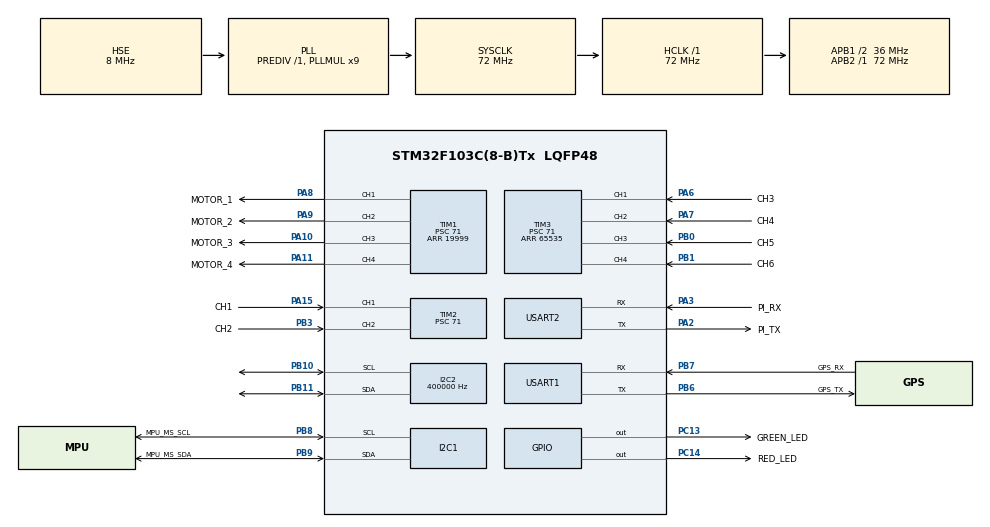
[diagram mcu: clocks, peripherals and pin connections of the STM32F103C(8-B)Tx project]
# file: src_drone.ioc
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I2C1.I2C_Mode=I2C_Fast
I2C2.ClockSpeed=400000
I2C2.DutyCycle=I2C_DUTYCYCLE_2
I2C2.I2C_Mode=I2C_Fast
Mcu.Family=STM32F1
Mcu.Name=STM32F103C(8-B)Tx
Mcu.Package=LQFP48
NVIC.PriorityGroup=NVIC_PRIORITYGROUP_4
NVIC.TIM1_BRK_IRQn=true\:0\:0\:false\:false\:true\:true\:true\:true
NVIC.TIM1_CC_IRQn=true\:0\:0\:false\:false\:true\:true\:true\:true
NVIC.TIM1_TRG_COM_IRQn=true\:0\:0\:false\:false\:true\:true\:true\:true
NVIC.TIM1_UP_IRQn=true\:0\:0\:false\:false\:true\:true\:true\:true
NVIC.TIM2_IRQn=true\:0\:0\:false\:false\:true\:true\:true\:true
NVIC.TIM3_IRQn=true\:0\:0\:false\:false\:true\:true\:true\:true
NVIC.USART1_IRQn=true\:0\:0\:false\:false\:true\:true\:true\:true
PA10.GPIO_Label=MOTOR_3
PA10.Signal=S_TIM1_CH3
PA11.GPIO_Label=MOTOR_4
PA11.Signal=S_TIM1_CH4
PA13.Mode=Serial_Wire
PA13.Signal=SYS_JTMS-SWDIO
PA14.Mode=Serial_Wire
PA14.Signal=SYS_JTCK-SWCLK
PA15.GPIO_Label=CH1
PA15.Signal=S_TIM2_CH1_ETR
PA2.GPIO_Label=PI_TX
PA2.Mode=Asynchronous
PA2.Signal=USART2_TX
PA3.GPIO_Label=PI_RX
PA3.Mode=Asynchronous
PA3.Signal=USART2_RX
PA6.GPIO_Label=CH3
PA6.Signal=S_TIM3_CH1
PA7.GPIO_Label=CH4
PA7.Signal=S_TIM3_CH2
PA8.GPIO_Label=MOTOR_1
PA8.Signal=S_TIM1_CH1
PA9.GPIO_Label=MOTOR_2
PA9.Signal=S_TIM1_CH2
PB0.GPIO_Label=CH5
PB0.Signal=S_TIM3_CH3
PB1.GPIO_Label=CH6
PB1.Signal=S_TIM3_CH4
PB10.Mode=I2C
PB10.Signal=I2C2_SCL
PB11.Mode=I2C
PB11.Signal=I2C2_SDA
PB3.GPIO_Label=CH2
PB3.Signal=S_TIM2_CH2
PB6.GPIO_Label=GPS_TX
PB6.Mode=Asynchronous
PB6.Signal=USART1_TX
PB7.GPIO_Label=GPS_RX
PB7.Mode=Asynchronous
PB7.Signal=USART1_RX
PB8.GPIO_Label=MPU_MS_SCL
PB8.Mode=I2C
PB8.Signal=I2C1_SCL
PB9.GPIO_Label=MPU_MS_SDA
PB9.Mode=I2C
PB9.Signal=I2C1_SDA
PC13-TAMPER-RTC.GPIO_Label=GREEN_LED
PC13-TAMPER-RTC.Signal=GPIO_Output
PC14-OSC32_IN.GPIO_Label=RED_LED
PC14-OSC32_IN.Signal=GPIO_Output
PD0-OSC_IN.Mode=HSE-External-Oscillator
PD0-OSC_IN.Signal=RCC_OSC_IN
PD1-OSC_OUT.Mode=HSE-External-Oscillator
PD1-OSC_OUT.Signal=RCC_OSC_OUT
ProjectManager.HeapSize=0x200
ProjectManager.StackSize=0x400
ProjectManager.TargetToolchain=MDK-ARM V5.32
RCC.AHBFreq_Value=72000000
RCC.APB1CLKDivider=RCC_HCLK_DIV2
RCC.APB1Freq_Value=36000000
RCC.APB1TimFreq_Value=72000000
RCC.APB2Freq_Value=72000000
RCC.APB2TimFreq_Value=72000000
RCC.HCLKFreq_Value=72000000
RCC.PLLMUL=RCC_PLL_MUL9
RCC.PLLSourceVirtual=RCC_PLLSOURCE_HSE
RCC.SYSCLKFreq_VALUE=72000000
RCC.SYSCLKSource=RCC_SYSCLKSOURCE_PLLCLK
RCC.USBFreq_Value=72000000
SH.S_TIM1_CH1.0=TIM1_CH1,PWM Generation1 CH1
SH.S_TIM1_CH2.0=TIM1_CH2,PWM Generation2 CH2
SH.S_TIM1_CH3.0=TIM1_CH3,PWM Generation3 CH3
SH.S_TIM1_CH4.0=TIM1_CH4,PWM Generation4 CH4
SH.S_TIM2_CH1_ETR.0=TIM2_CH1,Input_Capture1_from_TI1
SH.S_TIM2_CH2.0=TIM2_CH2,Input_Capture2_from_TI2
SH.S_TIM3_CH1.0=TIM3_CH1,Input_Capture1_from_TI1
SH.S_TIM3_CH2.0=TIM3_CH2,Input_Capture2_from_TI2
SH.S_TIM3_CH3.0=TIM3_CH3,Input_Capture3_from_TI3
SH.S_TIM3_CH4.0=TIM3_CH4,Input_Capture4_from_TI4
TIM1.Channel-PWM\ Generation1\ CH1=TIM_CHANNEL_1
TIM1.Channel-PWM\ Generation2\ CH2=TIM_CHANNEL_2
TIM1.Channel-PWM\ Generation3\ CH3=TIM_CHANNEL_3
TIM1.Channel-PWM\ Generation4\ CH4=TIM_CHANNEL_4
TIM1.Period=19999
TIM1.Prescaler=71
TIM1.Pulse-PWM\ Generation1\ CH1=1000
TIM1.Pulse-PWM\ Generation2\ CH2=1000
TIM1.Pulse-PWM\ Generation3\ CH3=1000
TIM1.Pulse-PWM\ Generation4\ CH4=1000
TIM2.Channel-Input_Capture1_from_TI1=TIM_CHANNEL_1
TIM2.Channel-Input_Capture2_from_TI2=TIM_CHANNEL_2
TIM2.ICPolarity_CH1=TIM_INPUTCHANNELPOLARITY_RISING
TIM2.Prescaler=71
TIM3.Channel-Input_Capture1_from_TI1=TIM_CHANNEL_1
TIM3.Channel-Input_Capture2_from_TI2=TIM_CHANNEL_2
TIM3.Channel-Input_Capture3_from_TI3=TIM_CHANNEL_3
TIM3.Channel-Input_Capture4_from_TI4=TIM_CHANNEL_4
TIM3.Period=65535
TIM3.Prescaler=71
USART1.VirtualMode=VM_ASYNC
USART2.VirtualMode=VM_ASYNC
VP_TIM1_VS_ClockSourceINT.Mode=Internal
VP_TIM2_VS_ClockSourceINT.Mode=Internal
VP_TIM3_VS_ClockSourceINT.Mode=Internal
board=custom

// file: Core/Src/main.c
#include "main.h"
#include "math.h"
#include "stdlib.h"
#define RAD_TO_DEG 57.295779513082320876798154814105
I2C_HandleTypeDef hi2c1;
I2C_HandleTypeDef hi2c2;

TIM_HandleTypeDef htim1;
TIM_HandleTypeDef htim2;
TIM_HandleTypeDef htim3;

UART_HandleTypeDef huart1;
UART_HandleTypeDef huart2;

/* USER CODE BEGIN PV */
#define MPU6050_ADDRESS  0x68
/* USER CODE END PV */

void SystemClock_Config(void);
static void MX_GPIO_Init(void);
static void MX_I2C1_Init(void);
static void MX_TIM1_Init(void);
static void MX_TIM2_Init(void);
static void MX_TIM3_Init(void);
static void MX_USART2_UART_Init(void);
static void MX_I2C2_Init(void);
static void MX_USART1_UART_Init(void);

/* USER CODE BEGIN 0 */

float Accel_Offset[3];
float Gyro_Offset[3];
///////////////////////////////////////////////////////////////////////////////////////////////////////////////////////////////////////
// Cài d?t m?c tang và gi?i h?n PID
///////////////////////////////////////////////////////////////////////////////////////////////////////////////////////////////////////
float pid_p_gain_roll = 1.45;
float pid_i_gain_roll = 0.0003;
float pid_d_gain_roll = 0.08;
int pid_max_roll = 400;

float pid_p_gain_pitch = 1.45;
float pid_i_gain_pitch = 0.0003;
float pid_d_gain_pitch = 0.08;
int pid_max_pitch = 400;

float pid_p_gain_yaw = 1.2;
float pid_i_gain_yaw = 0.0003;
float pid_d_gain_yaw = 0.002;
int pid_max_yaw = 400;

int16_t manual_takeoff_throttle = 1500;    // Nh?p di?m c?t cánh th? công khi không phát hi?n c?t cánh t? d?ng (gi?a 1400 và 1600).
int16_t motor_idle_speed = 1100;           // Nh?p xung ga t?i thi?u c?a d?ng co khi chúng không t?i (gi?a 1000 và 1200).

///////////////////////////////////////////////////////////////////////////////////////////////////////////////////////////////////////
// Khai báo các bi?n toàn c?c
///////////////////////////////////////////////////////////////////////////////////////////////////////////////////////////////////////
volatile int CH1, CH2, CH3, CH4, CH5, CH6;
volatile int pid_roll_setpoint_base, pid_pitch_setpoint_base;
int esc_1, esc_2, esc_3, esc_4;
int throttle, battery_voltage;
int  start, cal_int;
int temperature, count_var;
int acc_axis[4], gyro_axis[4];
int32_t gyro_roll_cal, gyro_pitch_cal, gyro_yaw_cal;
float roll_level_adjust, pitch_level_adjust;

float acc_x, acc_y, acc_z;
int32_t acc_total_vector, acc_total_vector_at_start;
int32_t acc_x_cal, acc_y_cal;
uint32_t current_time;
uint32_t timer;

int roll_neutral = 1512;
int pitch_neutral = 1512;
int yaw_neutral = 1492;
uint8_t setpoint_locked = 0;

double gyro_pitch, gyro_roll, gyro_yaw;
double gyro_axis_cal[4];
float pid_error_temp_roll;
float pid_error_temp_pitch;
float pid_error_temp_yaw;
float pid_i_mem_roll, pid_roll_setpoint, gyro_roll_input, pid_output_roll, pid_last_roll_d_error;
float pid_i_mem_pitch, pid_pitch_setpoint, gyro_pitch_input, pid_output_pitch, pid_last_pitch_d_error;
float pid_i_mem_yaw, pid_yaw_setpoint, gyro_yaw_input, pid_output_yaw, pid_last_yaw_d_error;
float angle_roll_acc, angle_pitch_acc, angle_pitch, angle_roll, angle_yaw;
float angle_roll_error, angle_pitch_error;
char gyro_angles_set;

uint32_t loop_timer, error_timer, flight_mode_timer;
uint8_t level_calibration_on;
uint8_t check_byte, flip32;
uint8_t error, error_counter, error_led;
uint8_t flight_mode, flight_mode_counter, flight_mode_led;
uint8_t takeoff_detected, manual_altitude_change;
int16_t manual_throttle;
int16_t takeoff_throttle;

void calculate_pid(void);
void gyro_signalen(void);
void calibrate_gyro(void);
void gyro_setup(void);
float course_deviation(float course_b, float course_c);
void vertical_acceleration_calculations(void);
void start_stop_takeoff(void);
void error_signal(void);
void Set_ESC_Throttle() {
    TIM1->CCR1 = esc_2;  // ESC1 - PWM trên TIM1_CH1
		TIM1->CCR2 = esc_1;  // ESC2 - PWM trên TIM1_CH2
		TIM1->CCR3 = esc_4;  // ESC3 - PWM trên TIM1_CH3
		TIM1->CCR4 = esc_3;  // ESC4 - PWM trên TIM1_CH4
}
void DWT_Init(void) {
    CoreDebug->DEMCR |= CoreDebug_DEMCR_TRCENA_Msk;
    DWT->CTRL |= DWT_CTRL_CYCCNTENA_Msk;
}
void delay_us(uint32_t us) {
    uint32_t start = DWT->CYCCNT;
    uint32_t cycles = (SystemCoreClock / 1000000) * us; // S? chu k? tuong ?ng v?i micro giây
    while ((DWT->CYCCNT - start) < cycles);
}
uint32_t micros(void) {
    return DWT->CYCCNT / (SystemCoreClock / 1000000);
}
int main(void)
{
  HAL_Init();
  SystemClock_Config();
  MX_GPIO_Init();
  MX_I2C1_Init();
  MX_TIM1_Init();
  MX_TIM2_Init();
  MX_TIM3_Init();
  MX_USART2_UART_Init();
  MX_I2C2_Init();
  MX_USART1_UART_Init();
  /* USER CODE BEGIN 2 */
	DWT_Init();
	GPIOC->BSRR = (1 << 14) | (1 << (13 + 16));
	gyro_setup();
  for (count_var = 0; count_var < 1250; count_var++) {
      if (count_var % 125 == 0) {
          GPIOC->ODR ^= (1 << 14);
      }
      HAL_Delay(4);
  }
	HAL_GPIO_WritePin(GPIOC,GPIO_PIN_14,0);
	count_var = 0;
	calibrate_gyro();
	while (CH3 < 990 || CH3 > 1020 || CH4 < 1400) {
     error = 3;
     error_signal();
     HAL_Delay(4);
  }
	error = 0;
	GPIOC->BSRR = (1 << (14 + 16));
	//battery_voltage = (HAL_ADC_GetValue(&hadc1) + 65) * 1.2317;
  if (motor_idle_speed < 1000) motor_idle_speed = 1000;
  if (motor_idle_speed > 1200) motor_idle_speed = 1200;
	GPIOC->BSRR = (1 << 13);
	current_time = micros();

  while (1)
  {
		error_signal();
		gyro_signalen();
		gyro_roll -= gyro_roll_cal;
    gyro_pitch -= gyro_pitch_cal;
    gyro_yaw -= gyro_yaw_cal;
		acc_x-=acc_x_cal;
		acc_y-=acc_y_cal;

    gyro_roll_input = (gyro_roll_input * 0.8) + (((float)gyro_roll / 65.5) * 0.2);
    gyro_pitch_input = (gyro_pitch_input * 0.8) + (((float)gyro_pitch / 65.5) * 0.2);
    gyro_yaw_input = (gyro_yaw_input * 0.8) + (((float)gyro_yaw / 65.5) * 0.2);

		angle_pitch += (float)gyro_pitch * 0.0000611;
    angle_roll += (float)gyro_roll * 0.0000611;
    angle_pitch -= angle_roll * sin((float)gyro_yaw * 0.000001066);
    angle_roll += angle_pitch * sin((float)gyro_yaw * 0.000001066);

    acc_total_vector = sqrt((acc_x * acc_x) + (acc_y * acc_y) + (acc_z * acc_z));

    if (fabs(acc_x) < acc_total_vector) {
    angle_pitch_acc = asin((float)acc_x/acc_total_vector)* RAD_TO_DEG;
  }
  if (fabs(acc_y) < acc_total_vector) {
    angle_roll_acc = asin((float)acc_y/acc_total_vector)* RAD_TO_DEG;
  }

    angle_pitch = angle_pitch * 0.9996 + angle_pitch_acc * 0.0004;
    angle_roll = angle_roll * 0.9996 + angle_roll_acc * 0.0004;

    pitch_level_adjust = angle_pitch * 15;
    roll_level_adjust = angle_roll * 15;
		// Khóa setpoint ? v? trí hi?n t?i khi v?a b?t (CH3 nh?, CH4 l?n)
		if (!setpoint_locked && CH3 < 1050) {
				roll_neutral = CH1;
				pitch_neutral = CH2;
				yaw_neutral = CH4; // N?u c?n cho yaw
				setpoint_locked = 1;
		}
		if(CH3 > 1050)
				setpoint_locked = 0;

    pid_roll_setpoint_base = CH1;
    pid_pitch_setpoint_base = CH2;

    if (pid_roll_setpoint_base > 2000)pid_roll_setpoint_base = 2000;
		if (pid_roll_setpoint_base < 1000)pid_roll_setpoint_base = 1000;
		if (pid_pitch_setpoint_base > 2000)pid_pitch_setpoint_base = 2000;
		if (pid_pitch_setpoint_base < 1000)pid_pitch_setpoint_base = 1000;

		start_stop_takeoff();

		pid_roll_setpoint = 0;

		if(pid_roll_setpoint_base > roll_neutral)pid_roll_setpoint = pid_roll_setpoint_base - roll_neutral;
		else if(pid_roll_setpoint_base < roll_neutral)pid_roll_setpoint = pid_roll_setpoint_base - roll_neutral;

		pid_roll_setpoint -= roll_level_adjust;
		pid_roll_setpoint /= 4.0;

		pid_pitch_setpoint = 0;

		if(pid_pitch_setpoint_base > pitch_neutral)pid_pitch_setpoint = pid_pitch_setpoint_base - pitch_neutral;
		else if(pid_pitch_setpoint_base < pitch_neutral)pid_pitch_setpoint = pid_pitch_setpoint_base - pitch_neutral;

		pid_pitch_setpoint -= pitch_level_adjust;
		pid_pitch_setpoint /= 4.0;

		pid_yaw_setpoint = 0;

		if(CH3 > 1050){
			if(CH4 > yaw_neutral)pid_yaw_setpoint = (CH4 - yaw_neutral)/4.0;
			else if(CH4 < yaw_neutral)pid_yaw_setpoint = (CH4 - yaw_neutral)/4.0;
		}
		if (fabs(pid_roll_setpoint) < 10.0) pid_roll_setpoint = 0;
		if (fabs(pid_pitch_setpoint) < 10.0) pid_pitch_setpoint = 0;
		if (fabs(pid_yaw_setpoint) < 10.0) pid_yaw_setpoint = 0;

		calculate_pid();
		throttle = CH3;
		if (start == 2) {
        if (throttle > 1800) throttle = 1800;

        esc_1 = throttle - pid_output_pitch + pid_output_roll - pid_output_yaw;
        esc_2 = throttle + pid_output_pitch + pid_output_roll + pid_output_yaw;
        esc_3 = throttle + pid_output_pitch - pid_output_roll - pid_output_yaw;
        esc_4 = throttle - pid_output_pitch - pid_output_roll + pid_output_yaw;

        /*if (battery_voltage < 1240 && battery_voltage > 800) {
            float factor = (1240 - battery_voltage) / 3500.0;
            esc_1 += esc_1 * factor;
            esc_2 += esc_2 * factor;
            esc_3 += esc_3 * factor;
            esc_4 += esc_4 * factor;
        }*/

        if (esc_1 < motor_idle_speed) esc_1 = motor_idle_speed;
				if (esc_2 < motor_idle_speed) esc_2 = motor_idle_speed;
				if (esc_3 < motor_idle_speed) esc_3 = motor_idle_speed;
				if (esc_4 < motor_idle_speed) esc_4 = motor_idle_speed;

				if(esc_1 > 2000)esc_1 = 2000;
				if(esc_2 > 2000)esc_2 = 2000;
				if(esc_3 > 2000)esc_3 = 2000;
				if(esc_4 > 2000)esc_4 = 2000;
    } else {
        esc_1 = esc_2 = esc_3 = esc_4 = 1000;
    }

		Set_ESC_Throttle();
		while (micros() - current_time < 4000);
		current_time = micros();

	}
  /* USER CODE END 3 */
}

void SystemClock_Config(void)
{
  RCC_OscInitTypeDef RCC_OscInitStruct = {0};
  RCC_ClkInitTypeDef RCC_ClkInitStruct = {0};

  /** Initializes the RCC Oscillators according to the specified parameters
  * in the RCC_OscInitTypeDef structure.
  */
  RCC_OscInitStruct.OscillatorType = RCC_OSCILLATORTYPE_HSE;
  RCC_OscInitStruct.HSEState = RCC_HSE_ON;
  RCC_OscInitStruct.HSEPredivValue = RCC_HSE_PREDIV_DIV1;
  RCC_OscInitStruct.HSIState = RCC_HSI_ON;
  RCC_OscInitStruct.PLL.PLLState = RCC_PLL_ON;
  RCC_OscInitStruct.PLL.PLLSource = RCC_PLLSOURCE_HSE;
  RCC_OscInitStruct.PLL.PLLMUL = RCC_PLL_MUL9;
  if (HAL_RCC_OscConfig(&RCC_OscInitStruct) != HAL_OK)
  {
    Error_Handler();
  }

  /** Initializes the CPU, AHB and APB buses clocks
  */
  RCC_ClkInitStruct.ClockType = RCC_CLOCKTYPE_HCLK|RCC_CLOCKTYPE_SYSCLK
                              |RCC_CLOCKTYPE_PCLK1|RCC_CLOCKTYPE_PCLK2;
  RCC_ClkInitStruct.SYSCLKSource = RCC_SYSCLKSOURCE_PLLCLK;
  RCC_ClkInitStruct.AHBCLKDivider = RCC_SYSCLK_DIV1;
  RCC_ClkInitStruct.APB1CLKDivider = RCC_HCLK_DIV2;
  RCC_ClkInitStruct.APB2CLKDivider = RCC_HCLK_DIV1;

  if (HAL_RCC_ClockConfig(&RCC_ClkInitStruct, FLASH_LATENCY_2) != HAL_OK)
  {
    Error_Handler();
  }
}

static void MX_I2C1_Init(void)
{

  hi2c1.Instance = I2C1;
  hi2c1.Init.ClockSpeed = 400000;
  hi2c1.Init.DutyCycle = I2C_DUTYCYCLE_2;
  hi2c1.Init.OwnAddress1 = 0;
  hi2c1.Init.AddressingMode = I2C_ADDRESSINGMODE_7BIT;
  hi2c1.Init.DualAddressMode = I2C_DUALADDRESS_DISABLE;
  hi2c1.Init.OwnAddress2 = 0;
  hi2c1.Init.GeneralCallMode = I2C_GENERALCALL_DISABLE;
  hi2c1.Init.NoStretchMode = I2C_NOSTRETCH_DISABLE;
  if (HAL_I2C_Init(&hi2c1) != HAL_OK)
  {
    Error_Handler();
  }

}

static void MX_I2C2_Init(void)
{

  hi2c2.Instance = I2C2;
  hi2c2.Init.ClockSpeed = 400000;
  hi2c2.Init.DutyCycle = I2C_DUTYCYCLE_2;
  hi2c2.Init.OwnAddress1 = 0;
  hi2c2.Init.AddressingMode = I2C_ADDRESSINGMODE_7BIT;
  hi2c2.Init.DualAddressMode = I2C_DUALADDRESS_DISABLE;
  hi2c2.Init.OwnAddress2 = 0;
  hi2c2.Init.GeneralCallMode = I2C_GENERALCALL_DISABLE;
  hi2c2.Init.NoStretchMode = I2C_NOSTRETCH_DISABLE;
  if (HAL_I2C_Init(&hi2c2) != HAL_OK)
  {
    Error_Handler();
  }
}

static void MX_TIM1_Init(void)
{

  TIM_ClockConfigTypeDef sClockSourceConfig = {0};
  TIM_MasterConfigTypeDef sMasterConfig = {0};
  TIM_OC_InitTypeDef sConfigOC = {0};
  TIM_BreakDeadTimeConfigTypeDef sBreakDeadTimeConfig = {0};

  htim1.Instance = TIM1;
  htim1.Init.Prescaler = 71;
  htim1.Init.CounterMode = TIM_COUNTERMODE_UP;
  htim1.Init.Period = 19999;
  htim1.Init.ClockDivision = TIM_CLOCKDIVISION_DIV1;
  htim1.Init.RepetitionCounter = 0;
  htim1.Init.AutoReloadPreload = TIM_AUTORELOAD_PRELOAD_DISABLE;
  if (HAL_TIM_Base_Init(&htim1) != HAL_OK)
  {
    Error_Handler();
  }
  sClockSourceConfig.ClockSource = TIM_CLOCKSOURCE_INTERNAL;
  if (HAL_TIM_ConfigClockSource(&htim1, &sClockSourceConfig) != HAL_OK)
  {
    Error_Handler();
  }
  if (HAL_TIM_PWM_Init(&htim1) != HAL_OK)
  {
    Error_Handler();
  }
  sMasterConfig.MasterOutputTrigger = TIM_TRGO_RESET;
  sMasterConfig.MasterSlaveMode = TIM_MASTERSLAVEMODE_DISABLE;
  if (HAL_TIMEx_MasterConfigSynchronization(&htim1, &sMasterConfig) != HAL_OK)
  {
    Error_Handler();
  }
  sConfigOC.OCMode = TIM_OCMODE_PWM1;
  sConfigOC.Pulse = 1000;
  sConfigOC.OCPolarity = TIM_OCPOLARITY_HIGH;
  sConfigOC.OCNPolarity = TIM_OCNPOLARITY_HIGH;
  sConfigOC.OCFastMode = TIM_OCFAST_DISABLE;
  sConfigOC.OCIdleState = TIM_OCIDLESTATE_RESET;
  sConfigOC.OCNIdleState = TIM_OCNIDLESTATE_RESET;
  if (HAL_TIM_PWM_ConfigChannel(&htim1, &sConfigOC, TIM_CHANNEL_1) != HAL_OK)
  {
    Error_Handler();
  }
  if (HAL_TIM_PWM_ConfigChannel(&htim1, &sConfigOC, TIM_CHANNEL_2) != HAL_OK)
  {
    Error_Handler();
  }
  if (HAL_TIM_PWM_ConfigChannel(&htim1, &sConfigOC, TIM_CHANNEL_3) != HAL_OK)
  {
    Error_Handler();
  }
  if (HAL_TIM_PWM_ConfigChannel(&htim1, &sConfigOC, TIM_CHANNEL_4) != HAL_OK)
  {
    Error_Handler();
  }
  sBreakDeadTimeConfig.OffStateRunMode = TIM_OSSR_DISABLE;
  sBreakDeadTimeConfig.OffStateIDLEMode = TIM_OSSI_DISABLE;
  sBreakDeadTimeConfig.LockLevel = TIM_LOCKLEVEL_OFF;
  sBreakDeadTimeConfig.DeadTime = 0;
  sBreakDeadTimeConfig.BreakState = TIM_BREAK_DISABLE;
  sBreakDeadTimeConfig.BreakPolarity = TIM_BREAKPOLARITY_HIGH;
  sBreakDeadTimeConfig.AutomaticOutput = TIM_AUTOMATICOUTPUT_DISABLE;
  if (HAL_TIMEx_ConfigBreakDeadTime(&htim1, &sBreakDeadTimeConfig) != HAL_OK)
  {
    Error_Handler();
  }
  /* USER CODE BEGIN TIM1_Init 2 */
	HAL_TIM_PWM_Start(&htim1, TIM_CHANNEL_1);
	HAL_TIM_PWM_Start(&htim1, TIM_CHANNEL_2);
	HAL_TIM_PWM_Start(&htim1, TIM_CHANNEL_3);
	HAL_TIM_PWM_Start(&htim1, TIM_CHANNEL_4);
  /* USER CODE END TIM1_Init 2 */
  HAL_TIM_MspPostInit(&htim1);

}

static void MX_TIM2_Init(void)
{

  TIM_ClockConfigTypeDef sClockSourceConfig = {0};
  TIM_MasterConfigTypeDef sMasterConfig = {0};
  TIM_IC_InitTypeDef sConfigIC = {0};

  htim2.Instance = TIM2;
  htim2.Init.Prescaler = 71;
  htim2.Init.CounterMode = TIM_COUNTERMODE_UP;
  htim2.Init.Period = 65535;
  htim2.Init.ClockDivision = TIM_CLOCKDIVISION_DIV1;
  htim2.Init.AutoReloadPreload = TIM_AUTORELOAD_PRELOAD_DISABLE;
  if (HAL_TIM_Base_Init(&htim2) != HAL_OK)
  {
    Error_Handler();
  }
  sClockSourceConfig.ClockSource = TIM_CLOCKSOURCE_INTERNAL;
  if (HAL_TIM_ConfigClockSource(&htim2, &sClockSourceConfig) != HAL_OK)
  {
    Error_Handler();
  }
  if (HAL_TIM_IC_Init(&htim2) != HAL_OK)
  {
    Error_Handler();
  }
  sMasterConfig.MasterOutputTrigger = TIM_TRGO_RESET;
  sMasterConfig.MasterSlaveMode = TIM_MASTERSLAVEMODE_DISABLE;
  if (HAL_TIMEx_MasterConfigSynchronization(&htim2, &sMasterConfig) != HAL_OK)
  {
    Error_Handler();
  }
  sConfigIC.ICPolarity = TIM_INPUTCHANNELPOLARITY_RISING;
  sConfigIC.ICSelection = TIM_ICSELECTION_DIRECTTI;
  sConfigIC.ICPrescaler = TIM_ICPSC_DIV1;
  sConfigIC.ICFilter = 0;
  if (HAL_TIM_IC_ConfigChannel(&htim2, &sConfigIC, TIM_CHANNEL_1) != HAL_OK)
  {
    Error_Handler();
  }
  if (HAL_TIM_IC_ConfigChannel(&htim2, &sConfigIC, TIM_CHANNEL_2) != HAL_OK)
  {
    Error_Handler();
  }
  /* USER CODE BEGIN TIM2_Init 2 */
	HAL_TIM_IC_Start_IT(&htim2, TIM_CHANNEL_1);
	HAL_TIM_IC_Start_IT(&htim2, TIM_CHANNEL_2);
  /* USER CODE END TIM2_Init 2 */

}

static void MX_TIM3_Init(void)
{

  TIM_ClockConfigTypeDef sClockSourceConfig = {0};
  TIM_MasterConfigTypeDef sMasterConfig = {0};
  TIM_IC_InitTypeDef sConfigIC = {0};

  htim3.Instance = TIM3;
  htim3.Init.Prescaler = 71;
  htim3.Init.CounterMode = TIM_COUNTERMODE_UP;
  htim3.Init.Period = 65535;
  htim3.Init.ClockDivision = TIM_CLOCKDIVISION_DIV1;
  htim3.Init.AutoReloadPreload = TIM_AUTORELOAD_PRELOAD_DISABLE;
  if (HAL_TIM_Base_Init(&htim3) != HAL_OK)
  {
    Error_Handler();
  }
  sClockSourceConfig.ClockSource = TIM_CLOCKSOURCE_INTERNAL;
  if (HAL_TIM_ConfigClockSource(&htim3, &sClockSourceConfig) != HAL_OK)
  {
    Error_Handler();
  }
  if (HAL_TIM_IC_Init(&htim3) != HAL_OK)
  {
    Error_Handler();
  }
  sMasterConfig.MasterOutputTrigger = TIM_TRGO_RESET;
  sMasterConfig.MasterSlaveMode = TIM_MASTERSLAVEMODE_DISABLE;
  if (HAL_TIMEx_MasterConfigSynchronization(&htim3, &sMasterConfig) != HAL_OK)
  {
    Error_Handler();
  }
  sConfigIC.ICPolarity = TIM_INPUTCHANNELPOLARITY_RISING;
  sConfigIC.ICSelection = TIM_ICSELECTION_DIRECTTI;
  sConfigIC.ICPrescaler = TIM_ICPSC_DIV1;
  sConfigIC.ICFilter = 0;
  if (HAL_TIM_IC_ConfigChannel(&htim3, &sConfigIC, TIM_CHANNEL_1) != HAL_OK)
  {
    Error_Handler();
  }
  if (HAL_TIM_IC_ConfigChannel(&htim3, &sConfigIC, TIM_CHANNEL_2) != HAL_OK)
  {
    Error_Handler();
  }
  if (HAL_TIM_IC_ConfigChannel(&htim3, &sConfigIC, TIM_CHANNEL_3) != HAL_OK)
  {
    Error_Handler();
  }
  if (HAL_TIM_IC_ConfigChannel(&htim3, &sConfigIC, TIM_CHANNEL_4) != HAL_OK)
  {
    Error_Handler();
  }
  /* USER CODE BEGIN TIM3_Init 2 */
	HAL_TIM_IC_Start_IT(&htim3, TIM_CHANNEL_1);
	HAL_TIM_IC_Start_IT(&htim3, TIM_CHANNEL_2);
	HAL_TIM_IC_Start_IT(&htim3, TIM_CHANNEL_3);
	HAL_TIM_IC_Start_IT(&htim3, TIM_CHANNEL_4);
  /* USER CODE END TIM3_Init 2 */

}

static void MX_USART1_UART_Init(void)
{

  huart1.Instance = USART1;
  huart1.Init.BaudRate = 115200;
  huart1.Init.WordLength = UART_WORDLENGTH_8B;
  huart1.Init.StopBits = UART_STOPBITS_1;
  huart1.Init.Parity = UART_PARITY_NONE;
  huart1.Init.Mode = UART_MODE_TX_RX;
  huart1.Init.HwFlowCtl = UART_HWCONTROL_NONE;
  huart1.Init.OverSampling = UART_OVERSAMPLING_16;
  if (HAL_UART_Init(&huart1) != HAL_OK)
  {
    Error_Handler();
  }

}

static void MX_USART2_UART_Init(void)
{

  huart2.Instance = USART2;
  huart2.Init.BaudRate = 115200;
  huart2.Init.WordLength = UART_WORDLENGTH_8B;
  huart2.Init.StopBits = UART_STOPBITS_1;
  huart2.Init.Parity = UART_PARITY_NONE;
  huart2.Init.Mode = UART_MODE_TX_RX;
  huart2.Init.HwFlowCtl = UART_HWCONTROL_NONE;
  huart2.Init.OverSampling = UART_OVERSAMPLING_16;
  if (HAL_UART_Init(&huart2) != HAL_OK)
  {
    Error_Handler();
  }

}

static void MX_GPIO_Init(void)
{
  GPIO_InitTypeDef GPIO_InitStruct = {0};

  /* GPIO Ports Clock Enable */
  __HAL_RCC_GPIOC_CLK_ENABLE();
  __HAL_RCC_GPIOD_CLK_ENABLE();
  __HAL_RCC_GPIOA_CLK_ENABLE();
  __HAL_RCC_GPIOB_CLK_ENABLE();

  /*Configure GPIO pin Output Level */
  HAL_GPIO_WritePin(GPIOC, GREEN_LED_Pin|RED_LED_Pin, GPIO_PIN_RESET);

  /*Configure GPIO pins : GREEN_LED_Pin RED_LED_Pin */
  GPIO_InitStruct.Pin = GREEN_LED_Pin|RED_LED_Pin;
  GPIO_InitStruct.Mode = GPIO_MODE_OUTPUT_PP;
  GPIO_InitStruct.Pull = GPIO_NOPULL;
  GPIO_InitStruct.Speed = GPIO_SPEED_FREQ_LOW;
  HAL_GPIO_Init(GPIOC, &GPIO_InitStruct);

}

/* USER CODE BEGIN 4 */
void calculate_pid(){
  // Tính toán Roll
  pid_error_temp_roll = gyro_roll_input - pid_roll_setpoint;
  pid_i_mem_roll += pid_i_gain_roll * pid_error_temp_roll;
  if(pid_i_mem_roll > pid_max_roll)pid_i_mem_roll = pid_max_roll;
  else if(pid_i_mem_roll < pid_max_roll * -1)pid_i_mem_roll = pid_max_roll * -1;

  pid_output_roll = pid_p_gain_roll * pid_error_temp_roll + pid_i_mem_roll + pid_d_gain_roll * ((pid_error_temp_roll - pid_last_roll_d_error));
  if(pid_output_roll > pid_max_roll)pid_output_roll = pid_max_roll;
  else if(pid_output_roll < pid_max_roll * -1)pid_output_roll = pid_max_roll * -1;

  pid_last_roll_d_error = pid_error_temp_roll;

  // Tính toán Pitch
  pid_error_temp_pitch = gyro_pitch_input - pid_pitch_setpoint;
  pid_i_mem_pitch += pid_i_gain_pitch * pid_error_temp_pitch;
  if(pid_i_mem_pitch > pid_max_pitch)pid_i_mem_pitch = pid_max_pitch;
  else if(pid_i_mem_pitch < pid_max_pitch * -1)pid_i_mem_pitch = pid_max_pitch * -1;

  pid_output_pitch = pid_p_gain_pitch * pid_error_temp_pitch + pid_i_mem_pitch + pid_d_gain_pitch * ((pid_error_temp_pitch - pid_last_pitch_d_error));
  if(pid_output_pitch > pid_max_pitch)pid_output_pitch = pid_max_pitch;
  else if(pid_output_pitch < pid_max_pitch * -1)pid_output_pitch = pid_max_pitch * -1;

  pid_last_pitch_d_error = pid_error_temp_pitch;

  // Tính toán Yaw
  pid_error_temp_yaw = gyro_yaw_input - pid_yaw_setpoint;
  pid_i_mem_yaw += pid_i_gain_yaw * pid_error_temp_yaw;
  if(pid_i_mem_yaw > pid_max_yaw)pid_i_mem_yaw = pid_max_yaw;
  else if(pid_i_mem_yaw < pid_max_yaw * -1)pid_i_mem_yaw = pid_max_yaw * -1;

  pid_output_yaw = pid_p_gain_yaw * pid_error_temp_yaw + pid_i_mem_yaw + pid_d_gain_yaw * ((pid_error_temp_yaw - pid_last_yaw_d_error));
  if(pid_output_yaw > pid_max_yaw)pid_output_yaw = pid_max_yaw;
  else if(pid_output_yaw < pid_max_yaw * -1)pid_output_yaw = pid_max_yaw * -1;

  pid_last_yaw_d_error = pid_error_temp_yaw;
}
void gyro_signalen()
{
    uint8_t data[14];  // B? d?m luu d? li?u t? MPU6050

    // Ð?c 14 byte t? d?a ch? 0x3B c?a MPU6050
    HAL_I2C_Mem_Read(&hi2c1, MPU6050_ADDRESS << 1, 0x3B, I2C_MEMADD_SIZE_8BIT, data, 14, HAL_MAX_DELAY);

    // Chuy?n d?i d? li?u t? byte sang s? nguyên 16-bit
    acc_x = (int16_t)(data[0] << 8 | data[1]);
    acc_y = (int16_t)(data[2] << 8 | data[3]);
    acc_z = (int16_t)(data[4] << 8 | data[5]);
    temperature = (int16_t)(data[6] << 8 | data[7]);
    gyro_roll = (int16_t)(data[8] << 8 | data[9]);
    gyro_pitch = (int16_t)(data[10] << 8 | data[11]);
    gyro_yaw = (int16_t)(data[12] << 8 | data[13]);

    // Ð?o chi?u gyro_pitch và gyro_yaw nhu trong mã g?c
    gyro_pitch *= -1;
    gyro_yaw *= -1;

}
void calibrate_gyro(void) {
    for (cal_int = 0; cal_int < 2000; cal_int++) {
        if (cal_int % 25 == 0) {
            GPIOC->ODR ^= GPIO_PIN_14;  // Ð?o tr?ng thái chân PC14
        }
        gyro_signalen();  // Ð?c giá tr? t? MPU6050
        gyro_roll_cal =gyro_roll_cal + gyro_roll;
        gyro_pitch_cal =gyro_pitch_cal + gyro_pitch;
        gyro_yaw_cal =gyro_yaw_cal + gyro_yaw;
				acc_x_cal =acc_x_cal + acc_x;
				acc_y_cal =acc_y_cal + acc_y;
				HAL_Delay(4);
    }
    GPIOC->BSRR = GPIO_PIN_14; // red_led(HIGH);
    gyro_roll_cal /= 2000;
    gyro_pitch_cal /= 2000;
    gyro_yaw_cal /= 2000;
		acc_x_cal/=2000;
		acc_y_cal/=2000;

}
void gyro_setup() {
    uint8_t data[2];

    // C?u hình Thanh ghi PWR_MGMT_1 (0x6B) - B?t MPU6050
    data[0] = 0x6B;
    data[1] = 0x00;
    HAL_I2C_Master_Transmit(&hi2c1, MPU6050_ADDRESS << 1, data, 2, HAL_MAX_DELAY);

    // C?u hình Thanh ghi GYRO_CONFIG (0x1B) - 500dps full scale
    data[0] = 0x1B;
    data[1] = 0x08;
    HAL_I2C_Master_Transmit(&hi2c1, MPU6050_ADDRESS << 1, data, 2, HAL_MAX_DELAY);

    // C?u hình Thanh ghi ACCEL_CONFIG (0x1C) - ±8g full scale range
    data[0] = 0x1C;
    data[1] = 0x10;
    HAL_I2C_Master_Transmit(&hi2c1, MPU6050_ADDRESS << 1, data, 2, HAL_MAX_DELAY);

		data[0] = 0x1A;
    data[1] = 0x03;
    HAL_I2C_Master_Transmit(&hi2c1, MPU6050_ADDRESS << 1, data, 2, HAL_MAX_DELAY);
    // Ð?c l?i GYRO_CONFIG d? ki?m tra
    uint8_t check;
    data[0] = 0x1B;
    HAL_I2C_Master_Transmit(&hi2c1, MPU6050_ADDRESS << 1, data, 1, HAL_MAX_DELAY);
    HAL_I2C_Master_Receive(&hi2c1, MPU6050_ADDRESS << 1, &check, 1, HAL_MAX_DELAY);

    if (check != 0x08) {
        GPIOC->BSRR = GPIO_PIN_14;
        while (1) HAL_Delay(10);
    }
}
void start_stop_takeoff(void) {
  if (CH3 < 1050 && CH4 < 1050)start = 1;
  // Kh?i d?ng d?ng co: c?n ga ? v? trí th?p và bên trái.
  if (start == 1 && CH3 < 1050 && CH4 > 1450) {
    throttle = motor_idle_speed;
    angle_pitch = angle_pitch_acc;
    angle_roll = angle_roll_acc;
    acc_total_vector_at_start = acc_total_vector;
    start = 2;
    if (manual_takeoff_throttle > 1400 && manual_takeoff_throttle < 1600) {
      takeoff_throttle = manual_takeoff_throttle - 1500;
      takeoff_detected = 1;
      // Ð?t l?i di?u khi?n PID d? c?t cánh suôn s?.
      pid_i_mem_roll = 0;
      pid_last_roll_d_error = 0;
      pid_output_roll = 0;
      pid_i_mem_pitch = 0;
      pid_last_pitch_d_error = 0;
      pid_output_pitch = 0;
      pid_i_mem_yaw = 0;
      pid_last_yaw_d_error = 0;
      pid_output_yaw = 0;
    }
    else if (manual_takeoff_throttle) {
      error = 4;
      takeoff_throttle = 0;
      start = 0;
    }
  }
  // D?ng d?ng co: c?n ga ? v? trí th?p và bên ph?i.
  if (start == 2 && CH3 < 1050 && CH4 > 1950) {
    start = 0;
    takeoff_detected = 0;
  }

  if (takeoff_detected == 0 && start == 2) {
    if (CH3 > 1480 && throttle < 1750) throttle++;
    if (throttle == 1750)error = 5;
    if (CH3 <= 1480) {
      if (throttle > motor_idle_speed)throttle--;
      // Ð?t l?i di?u khi?n PID d? c?t cánh suôn s?.
      else {
        pid_i_mem_roll = 0;
        pid_last_roll_d_error = 0;
        pid_output_roll = 0;
        pid_i_mem_pitch = 0;
        pid_last_pitch_d_error = 0;
        pid_output_pitch = 0;
        pid_i_mem_yaw = 0;
        pid_last_yaw_d_error = 0;
        pid_output_yaw = 0;
      }
    }
      if (throttle > 1400 && throttle < 1700) takeoff_throttle = throttle - 1530;
      else {
        error = 6;
        takeoff_throttle = 0;
      }
    }
  }

void error_signal(void) {
    if (error >= 100) {
        // Khi l?i >= 100, dèn luôn b?t
        GPIOC->BSRR = (1 << 14);  // SET PC14 lên m?c cao

    } else if (HAL_GetTick() > error_timer) {
        // N?u dã h?t th?i gian ch? gi?a các l?n nh?p nháy
        error_timer = HAL_GetTick() + 250; // Ð?t th?i gian ch? ti?p theo là 250ms

        if (error > 0 && error_counter > error + 3) {
            error_counter = 0; // Ð?t l?i b? d?m n?u vu?t quá s? l?n nh?p nháy c?n thi?t
        }

        if (error_counter < error && error_led == 0 && error > 0) {
            // Pha b?t LED
            GPIOC->BSRR = (1 << 14);  // SET PC14 lên m?c cao
            error_led = 1; // Ghi nh?n LED dang b?t
        } else {
            // Pha t?t LED
            GPIOC->BSRR = (1 << (14 + 16));  // RESET
            error_counter++; // Tang s? l?n nh?p nháy dã th?c hi?n
            error_led = 0;   // Ghi nh?n LED dang t?t
        }
    }
}

/* USER CODE END 4 */

void Error_Handler(void)
{
  __disable_irq();
  while (1)
  {
  }
}
